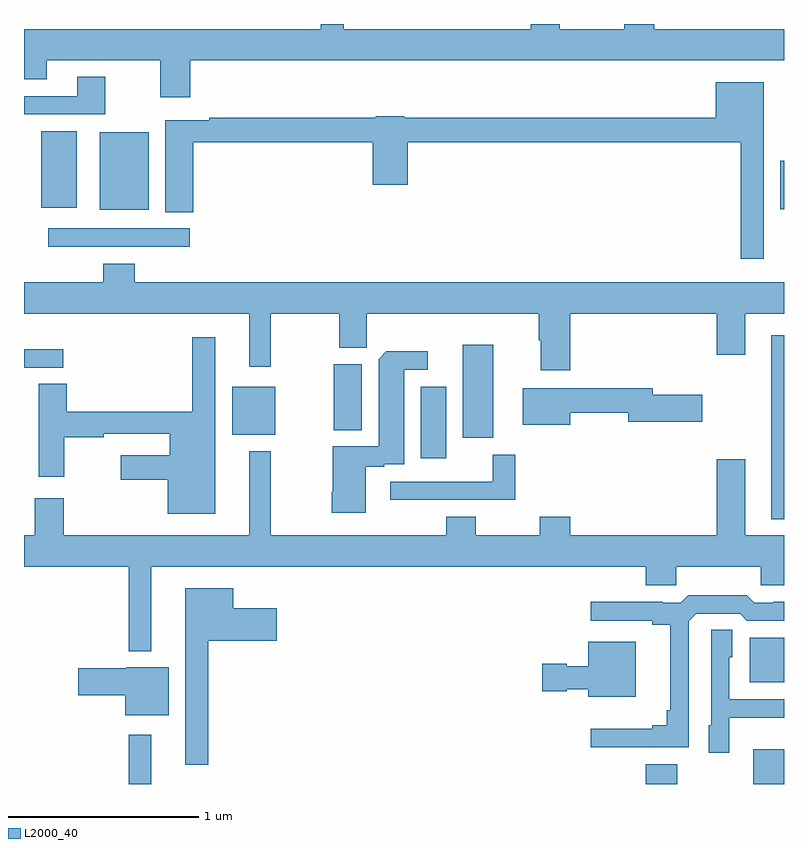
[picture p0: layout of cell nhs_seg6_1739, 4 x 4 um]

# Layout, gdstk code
import gdstk
lib = gdstk.Library(unit=1e-6, precision=1e-09)
def R(c, l, rs):  # rectangles x0, y0, x1, y1
    for r in rs: c.add(gdstk.rectangle(r[:2], r[2:], *l))
def P(c, l, *ps):  # polygons
    for p in ps: c.add(gdstk.Polygon(p, *l))
L2000_40 = (2000, 40)

nhs_seg6_1739 = lib.new_cell('nhs_seg6_1739')
R(nhs_seg6_1739, L2000_40, [(215.55,971.5,215.671,971.758), (218.273,971.5,218.437,971.605), (218.837,971.5,219,971.683), (218.819,972.035,219,972.271), (218.933,972.893,219,973.861), (217.088,973.215,217.222,973.591), (217.31,973.323,217.471,973.813), (216.095,973.337,216.322,973.591), (216.631,973.363,216.778,973.71), (215,973.692,215.206,973.788), (215.127,974.328,215.872,974.424), (215.399,974.522,215.656,974.929), (218.981,974.525,219,974.779), (215.09,974.534,215.278,974.935)])
P(nhs_seg6_1739, L2000_40, [(215.876,975.308),(219,975.308),(219,975.472),(218.318,975.472),(218.318,975.5),(218.158,975.5),(218.158,975.472),(217.821,975.472),(217.821,975.5),(217.666,975.5),(217.666,975.472),(216.682,975.472),(216.682,975.5),(216.561,975.5),(216.561,975.472),(215,975.472),(215,975.209),(215.119,975.209),(215.119,975.308),(215.716,975.308),(215.716,975.114),(215.876,975.114)],
  [(215.427,975.223),(215.279,975.223),(215.279,975.12),(215,975.12),(215,975.024),(215.427,975.024)],
  [(218.893,975.193),(218.642,975.193),(218.642,975.007),(217.002,975.007),(217.002,975.015),(216.852,975.015),(216.852,975.007),(215.974,975.007),(215.974,974.994),(215.744,974.994),(215.744,974.509),(215.891,974.509),(215.891,974.878),(216.836,974.878),(216.836,974.655),(217.019,974.655),(217.019,974.878),(218.772,974.878),(218.772,974.265),(218.893,974.265)],
  [(217.874,973.976),(218.645,973.976),(218.645,973.758),(218.797,973.758),(218.797,973.976),(219,973.976),(219,974.14),(215.582,974.14),(215.582,974.239),(215.417,974.239),(215.417,974.14),(215,974.14),(215,973.976),(216.185,973.976),(216.185,973.695),(216.299,973.695),(216.299,973.976),(216.658,973.976),(216.658,973.795),(216.803,973.795),(216.803,973.976),(217.709,973.976),(217.709,973.835),(217.721,973.835),(217.721,973.677),(217.874,973.677)],
  [(216.007,973.852),(215.886,973.852),(215.886,973.46),(215.225,973.46),(215.225,973.607),(215.078,973.607),(215.078,973.116),(215.212,973.116),(215.212,973.324),(215.42,973.324),(215.42,973.344),(215.768,973.344),(215.768,973.231),(215.508,973.231),(215.508,973.102),(215.756,973.102),(215.756,972.923),(216.007,972.923)],
  [(216.799,973.17),(216.896,973.17),(216.896,973.182),(217,973.182),(217,973.68),(217.126,973.68),(217.126,973.778),(216.907,973.778),(216.866,973.736),(216.866,973.278),(216.626,973.278),(216.626,973.039),(216.619,973.039),(216.619,972.927),(216.799,972.927)],
  [(217.876,973.453),(218.18,973.453),(218.18,973.406),(218.569,973.406),(218.569,973.548),(218.308,973.548),(218.308,973.582),(217.625,973.582),(217.625,973.391),(217.876,973.391)],
  [(215.671,972.644),(218.273,972.644),(218.273,972.546),(218.433,972.546),(218.433,972.644),(218.878,972.644),(218.878,972.546),(219,972.546),(219,972.808),(218.797,972.808),(218.797,973.21),(218.645,973.21),(218.645,972.808),(217.874,972.808),(217.874,972.907),(217.714,972.907),(217.714,972.808),(217.377,972.808),(217.377,972.907),(217.222,972.907),(217.222,972.808),(216.299,972.808),(216.299,973.252),(216.185,973.252),(216.185,972.808),(215.21,972.808),(215.21,973.003),(215.057,973.003),(215.057,972.808),(215,972.808),(215,972.644),(215.55,972.644),(215.55,972.2),(215.671,972.2)],
  [(217.586,973.234),(217.468,973.234),(217.468,973.092),(216.927,973.092),(216.927,972.996),(217.586,972.996)],
  [(215.971,972.254),(216.331,972.254),(216.331,972.424),(216.1,972.424),(216.1,972.529),(215.849,972.529),(215.849,971.601),(215.971,971.601)],
  [(218.499,972.357),(218.538,972.396),(218.769,972.396),(218.805,972.36),(219,972.36),(219,972.458),(218.944,972.458),(218.944,972.453),(218.844,972.453),(218.805,972.493),(218.497,972.493),(218.457,972.453),(218.363,972.453),(218.363,972.458),(217.983,972.458),(217.983,972.36),(218.306,972.36),(218.306,972.338),(218.402,972.338),(218.402,971.887),(218.383,971.887),(218.383,971.81),(218.306,971.81),(218.306,971.791),(217.983,971.791),(217.983,971.694),(218.499,971.694)],
  [(218.712,971.849),(219,971.849),(219,971.946),(218.712,971.946),(218.712,972.168),(218.728,972.168),(218.728,972.311),(218.616,972.311),(218.616,971.808),(218.603,971.808),(218.603,971.664),(218.712,971.664)],
  [(218.221,972.25),(217.97,972.25),(217.97,972.121),(217.857,972.121),(217.857,972.134),(217.728,972.134),(217.728,971.987),(217.857,971.987),(217.857,971.999),(217.97,971.999),(217.97,971.96),(218.221,971.96)],
  [(215.761,972.115),(215.538,972.115),(215.538,972.11),(215.286,972.11),(215.286,971.968),(215.534,971.968),(215.534,971.861),(215.761,971.861)])

lib.write_gds('nhs_seg6_1739.gds')
